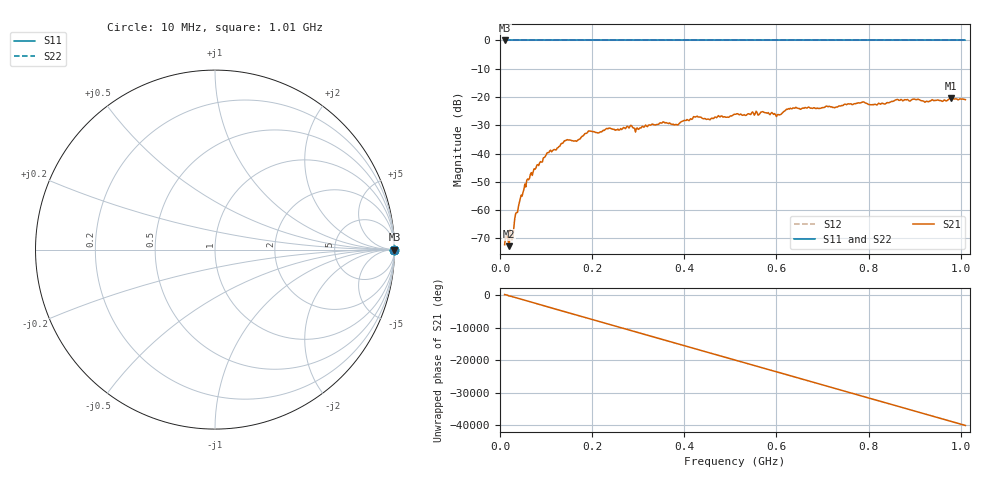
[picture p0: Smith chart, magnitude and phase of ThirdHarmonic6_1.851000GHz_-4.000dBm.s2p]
! 8/16/2025 10:23:35 PM
! C:\ANRITSUVNA\TEMP\TEMP.S2P
! CHANNEL.1
! TR.MEASUREMENT
! RAW.DATA
! RF.CORRECTION.OFF
! AVERAGING.OFF
! IF.BANDWIDTH: 5KHZ
! SWEEPTYPE:  FREQ.SWEEP(Linear)
! Reference Plane Port Info
! PORT:  PORT1  PORT2
! DISTANCE:  0  m  0  m
! TIME:  0  s  0  s
! PHASE.OFFSET:  0  deg.  0  deg.
! LOSS:  0  dB  0  dB
! REF.LOSS:  0  dB  0  dB
! REF.FREQ:  0  Hz  0  Hz
! Power Info
! POWER:  -20  dBm  -20  dBm
! EFF.POWER:  -20  dBm  -20  dBm
! SOURCE.ATTEN:  0  dB  0  dB
! TEST.ATTEN:  0  dB  0  dB
# GHZ S RI R 50.0
! FREQ.GHZ  S11RE  S11IM  S21RE  S21IM  S12RE  S12IM  S22RE  S22IM
!; PortSelection: Port_12
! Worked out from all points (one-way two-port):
!   501 points, 10 MHz to 1.01 GHz, reference 50 ohm
!   highest |S21| = -20.45 dB at 978 MHz (marker M1); lowest = -72.7 dB at 20 MHz (marker M2)
!   lowest |S11| = 0.0 dB at 10 MHz (marker M3)
!   |S11| at or under -10 dB: nowhere
!   |S22| runs from 0.0 to 0.0 dB; largest |S21 - S12| = 1.1
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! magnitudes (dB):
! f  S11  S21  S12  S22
! 10 MHz  0.0  -72.2  0.0  0.0
! 20 MHz  0.0  -72.7  0.0  0.0
! 24 MHz  0.0  -68.4  0.0  0.0
! 36 MHz  0.0  -60.9  0.0  0.0
! 56 MHz  0.0  -51.8  0.0  0.0
! 78 MHz  0.0  -45.1  0.0  0.0
! 106 MHz  0.0  -39.6  0.0  0.0
! 142 MHz  0.0  -35.4  0.0  0.0
! 178 MHz  0.0  -33.9  0.0  0.0
! 196 MHz  0.0  -32.0  0.0  0.0
! 282 MHz  0.0  -30.4  0.0  0.0
! 298 MHz  0.0  -30.9  0.0  0.0
! 344 MHz  0.0  -29.7  0.0  0.0
! 382 MHz  0.0  -29.7  0.0  0.0
! 424 MHz  0.0  -27.1  0.0  0.0
! 510 MHz  0.0  -26.1  0.0  0.0
! 604 MHz  0.0  -26.2  0.0  0.0
! 626 MHz  0.0  -24.1  0.0  0.0
! 678 MHz  0.0  -24.0  0.0  0.0
! 844 MHz  0.0  -22.0  0.0  0.0
! 978 MHz  0.0  -20.5  0.0  0.0
! 1.01 GHz  0.0  -20.9  0.0  0.0
